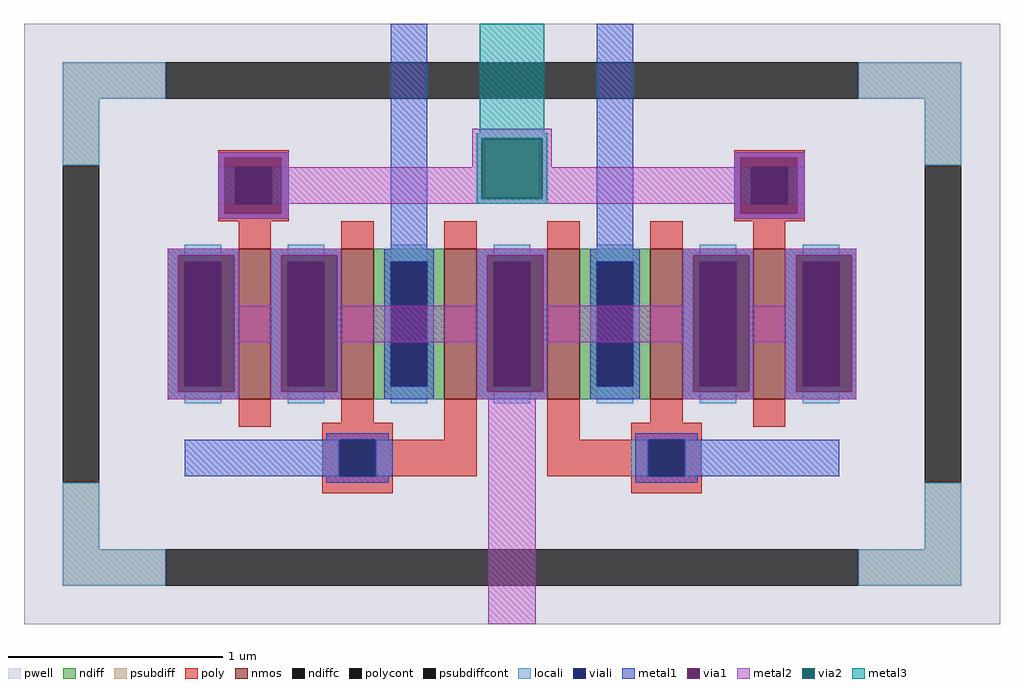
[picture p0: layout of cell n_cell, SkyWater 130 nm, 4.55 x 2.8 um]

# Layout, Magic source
magic
tech sky130A
magscale 1 2
<< pwell >>
rect -455 -280 455 280
<< nmos >>
rect -255 -70 -225 70
rect -159 -70 -129 70
rect -63 -70 -33 70
rect 33 -70 63 70
rect 129 -70 159 70
rect 225 -70 255 70
<< ndiff >>
rect -321 58 -255 70
rect -321 -58 -305 58
rect -271 -58 -255 58
rect -321 -70 -255 -58
rect -225 58 -159 70
rect -225 -58 -209 58
rect -175 -58 -159 58
rect -225 -70 -159 -58
rect -129 58 -63 70
rect -129 -58 -113 58
rect -79 -58 -63 58
rect -129 -70 -63 -58
rect -33 58 33 70
rect -33 -58 -17 58
rect 17 -58 33 58
rect -33 -70 33 -58
rect 63 58 129 70
rect 63 -58 79 58
rect 113 -58 129 58
rect 63 -70 129 -58
rect 159 58 225 70
rect 159 -58 175 58
rect 209 -58 225 58
rect 159 -70 225 -58
rect 255 58 321 70
rect 255 -58 271 58
rect 305 -58 321 58
rect 255 -70 321 -58
<< ndiffc >>
rect -305 -58 -271 58
rect -209 -58 -175 58
rect -113 -58 -79 58
rect -17 -58 17 58
rect 79 -58 113 58
rect 175 -58 209 58
rect 271 -58 305 58
<< psubdiff >>
rect -419 210 -323 244
rect 323 210 419 244
rect -419 148 -385 210
rect 385 148 419 210
rect -419 -210 -385 -148
rect 385 -210 419 -148
rect -419 -244 -323 -210
rect 323 -244 419 -210
<< psubdiffcont >>
rect -323 210 323 244
rect -419 -148 -385 148
rect 385 -148 419 148
rect -323 -244 323 -210
<< poly >>
rect -274 146 -208 162
rect -274 112 -258 146
rect -224 112 -208 146
rect -274 96 -208 112
rect 207 146 273 162
rect 207 112 223 146
rect 257 112 273 146
rect 207 96 273 112
rect -255 70 -225 96
rect -159 70 -129 96
rect -63 70 -33 96
rect 33 70 63 96
rect 129 70 159 96
rect 225 70 255 96
rect -255 -96 -225 -70
rect -159 -92 -129 -70
rect -177 -108 -111 -92
rect -63 -108 -33 -70
rect -177 -142 -161 -108
rect -127 -142 -33 -108
rect 33 -108 63 -70
rect 129 -92 159 -70
rect 111 -108 177 -92
rect 225 -96 255 -70
rect 33 -142 127 -108
rect 161 -142 177 -108
rect -177 -158 -111 -142
rect 111 -158 177 -142
<< polycont >>
rect -258 112 -224 146
rect 223 112 257 146
rect -161 -142 -127 -108
rect 127 -142 161 -108
<< locali >>
rect -419 210 -323 244
rect 323 210 419 244
rect -419 148 -385 210
rect 385 148 419 210
rect -274 112 -258 146
rect -224 112 -208 146
rect 207 112 223 146
rect 257 112 273 146
rect -305 58 -271 74
rect -305 -74 -271 -58
rect -209 58 -175 74
rect -209 -74 -175 -58
rect -113 58 -79 74
rect -113 -74 -79 -58
rect -17 58 17 74
rect -17 -74 17 -58
rect 79 58 113 74
rect 79 -74 113 -58
rect 175 58 209 74
rect 175 -74 209 -58
rect 271 58 305 74
rect 271 -74 305 -58
rect -177 -142 -161 -108
rect -127 -142 -111 -108
rect 111 -142 127 -108
rect 161 -142 177 -108
rect -419 -210 -385 -148
rect 385 -210 419 -148
rect -419 -244 -323 -210
rect 323 -244 419 -210
<< viali >>
rect -258 112 -224 146
rect 223 112 257 146
rect -305 -58 -271 58
rect -209 -58 -175 58
rect -113 -58 -79 58
rect -17 -58 17 58
rect 79 -58 113 58
rect 175 -58 209 58
rect 271 -58 305 58
rect -161 -142 -127 -108
rect 127 -142 161 -108
<< metal1 >>
rect -274 155 -208 160
rect -274 103 -268 155
rect -215 103 -208 155
rect -274 98 -208 103
rect -113 70 -79 280
rect 79 70 113 280
rect 207 155 273 160
rect 207 103 213 155
rect 266 103 273 155
rect 207 98 273 103
rect -321 64 -255 70
rect -321 -63 -311 64
rect -259 -63 -255 64
rect -321 -70 -255 -63
rect -225 64 -159 70
rect -225 -63 -215 64
rect -163 -63 -159 64
rect -225 -70 -159 -63
rect -119 58 -73 70
rect -119 -58 -113 58
rect -79 -58 -73 58
rect -119 -70 -73 -58
rect -33 64 33 70
rect -33 -63 -23 64
rect 29 -63 33 64
rect -33 -70 33 -63
rect 73 58 119 70
rect 73 -58 79 58
rect 113 -58 119 58
rect 73 -70 119 -58
rect 159 64 225 70
rect 159 -63 169 64
rect 221 -63 225 64
rect 159 -70 225 -63
rect 255 64 321 70
rect 255 -63 265 64
rect 317 -63 321 64
rect 255 -70 321 -63
rect -173 -108 -115 -102
rect 115 -108 173 -102
rect -305 -142 -161 -108
rect -127 -142 -111 -108
rect 115 -142 127 -108
rect 161 -142 305 -108
rect -173 -148 -115 -142
rect 115 -148 173 -142
<< via1 >>
rect -268 146 -215 155
rect -268 112 -258 146
rect -258 112 -224 146
rect -224 112 -215 146
rect -268 103 -215 112
rect 213 146 266 155
rect 213 112 223 146
rect 223 112 257 146
rect 257 112 266 146
rect 213 103 266 112
rect -311 58 -259 64
rect -311 -58 -305 58
rect -305 -58 -271 58
rect -271 -58 -259 58
rect -311 -63 -259 -58
rect -215 58 -163 64
rect -215 -58 -209 58
rect -209 -58 -175 58
rect -175 -58 -163 58
rect -215 -63 -163 -58
rect -23 58 29 64
rect -23 -58 -17 58
rect -17 -58 17 58
rect 17 -58 29 58
rect -23 -63 29 -58
rect 169 58 221 64
rect 169 -58 175 58
rect 175 -58 209 58
rect 209 -58 221 58
rect 169 -63 221 -58
rect 265 58 317 64
rect 265 -58 271 58
rect 271 -58 305 58
rect 305 -58 317 58
rect 265 -63 317 -58
<< metal2 >>
rect -37 173 37 182
rect -274 155 -208 160
rect -274 103 -268 155
rect -215 146 -208 155
rect -37 146 -28 173
rect -215 117 -28 146
rect 28 146 37 173
rect 207 155 273 160
rect 207 146 213 155
rect 28 117 213 146
rect -215 112 213 117
rect -215 103 -208 112
rect -274 98 -208 103
rect 207 103 213 112
rect 266 103 273 155
rect 207 98 273 103
rect -321 64 -255 70
rect -321 -63 -311 64
rect -259 17 -255 64
rect -225 64 -159 70
rect -225 17 -215 64
rect -259 -17 -215 17
rect -259 -63 -255 -17
rect -321 -70 -255 -63
rect -225 -63 -215 -17
rect -163 17 -159 64
rect -33 64 33 70
rect -33 17 -23 64
rect -163 -17 -23 17
rect -163 -63 -159 -17
rect -225 -70 -159 -63
rect -33 -63 -23 -17
rect 29 17 33 64
rect 159 64 225 70
rect 159 17 169 64
rect 29 -17 169 17
rect 29 -63 33 -17
rect -33 -70 33 -63
rect 159 -63 169 -17
rect 221 17 225 64
rect 255 64 321 70
rect 255 17 265 64
rect 221 -17 265 17
rect 221 -63 225 -17
rect 159 -70 225 -63
rect 255 -63 265 -17
rect 317 -63 321 64
rect 255 -70 321 -63
rect -22 -280 22 -70
<< via2 >>
rect -28 117 28 173
<< metal3 >>
rect -30 178 30 280
rect -33 173 33 178
rect -33 117 -28 173
rect 28 117 33 173
rect -33 112 33 117
<< properties >>
string FIXED_BBOX -402 -227 402 227
string gencell sky130_fd_pr__nfet_01v8
string library sky130
string parameters w 0.7 l 0.150 m 1 nf 6 diffcov 100 polycov 100 guard 1 glc 1 grc 1 gtc 1 gbc 1 tbcov 100 rlcov 100 topc 1 botc 1 poverlap 0 doverlap 1 lmin 0.15 wmin 0.42 compatible {sky130_fd_pr__nfet_01v8 sky130_fd_pr__nfet_01v8_lvt  sky130_fd_bs_flash__special_sonosfet_star  sky130_fd_pr__nfet_g5v0d10v5 sky130_fd_pr__nfet_05v0_nvt  sky130_fd_pr__nfet_03v3_nvt} full_metal 1 viasrc 100 viadrn 100 viagate 100 viagb 0 viagr 0 viagl 0 viagt 0
<< end >>
